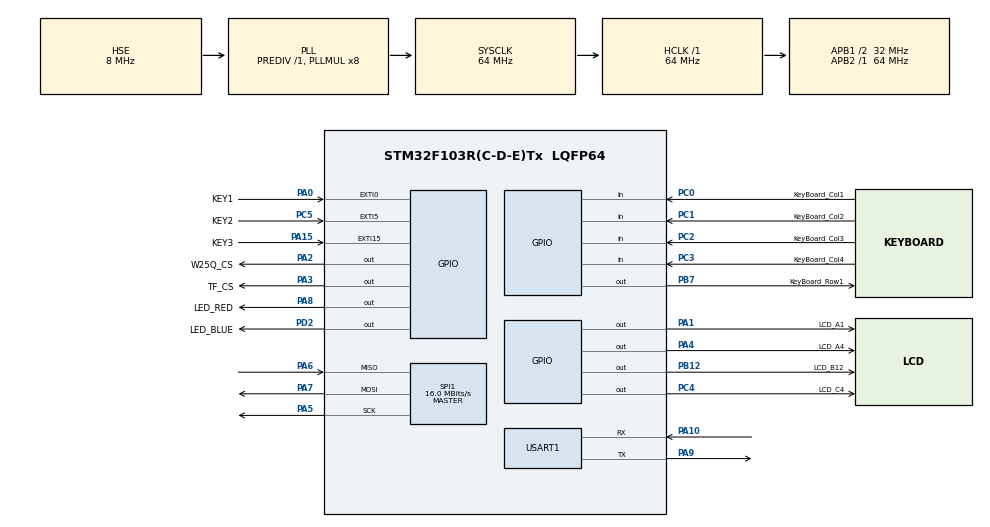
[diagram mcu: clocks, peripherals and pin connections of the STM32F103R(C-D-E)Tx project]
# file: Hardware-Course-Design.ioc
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FATFS._CODE_PAGE=936
FATFS._USE_LFN=3
Mcu.Family=STM32F1
Mcu.Name=STM32F103R(C-D-E)Tx
Mcu.Package=LQFP64
NVIC.EXTI0_IRQn=true\:2\:0\:true\:false\:true\:true\:true\:true
NVIC.EXTI15_10_IRQn=true\:2\:0\:true\:false\:true\:true\:true\:true
NVIC.EXTI9_5_IRQn=true\:2\:0\:true\:false\:true\:true\:true\:true
NVIC.PriorityGroup=NVIC_PRIORITYGROUP_4
NVIC.TIM7_IRQn=true\:3\:0\:true\:false\:true\:true\:true\:true
NVIC.USART1_IRQn=true\:1\:0\:true\:false\:true\:true\:true\:true
PA0-WKUP.GPIO_Label=KEY1
PA0-WKUP.GPIO_ModeDefaultEXTI=GPIO_MODE_IT_RISING
PA0-WKUP.GPIO_PuPd=GPIO_PULLDOWN
PA0-WKUP.Signal=GPXTI0
PA1.GPIO_Label=LCD_A1
PA1.GPIO_PuPd=GPIO_PULLUP
PA1.PinState=GPIO_PIN_SET
PA1.Signal=GPIO_Output
PA10.Mode=Asynchronous
PA10.Signal=USART1_RX
PA13.Mode=Serial_Wire
PA13.Signal=SYS_JTMS-SWDIO
PA14.Mode=Serial_Wire
PA14.Signal=SYS_JTCK-SWCLK
PA15.GPIO_Label=KEY3
PA15.GPIO_ModeDefaultEXTI=GPIO_MODE_IT_FALLING
PA15.GPIO_PuPd=GPIO_PULLUP
PA15.Signal=GPXTI15
PA2.GPIO_Label=W25Q_CS
PA2.GPIO_PuPd=GPIO_PULLUP
PA2.GPIO_Speed=GPIO_SPEED_FREQ_HIGH
PA2.PinState=GPIO_PIN_SET
PA2.Signal=GPIO_Output
PA3.GPIO_Label=TF_CS
PA3.PinState=GPIO_PIN_SET
PA3.Signal=GPIO_Output
PA4.GPIO_Label=LCD_A4
PA4.GPIO_PuPd=GPIO_PULLUP
PA4.GPIO_Speed=GPIO_SPEED_FREQ_HIGH
PA4.PinState=GPIO_PIN_SET
PA4.Signal=GPIO_Output
PA5.Mode=Full_Duplex_Master
PA5.Signal=SPI1_SCK
PA6.Mode=Full_Duplex_Master
PA6.Signal=SPI1_MISO
PA7.Mode=Full_Duplex_Master
PA7.Signal=SPI1_MOSI
PA8.GPIO_Label=LED_RED
PA8.GPIO_PuPd=GPIO_PULLUP
PA8.PinState=GPIO_PIN_SET
PA8.Signal=GPIO_Output
PA9.Mode=Asynchronous
PA9.Signal=USART1_TX
PB12.GPIO_Label=LCD_B12
PB12.GPIO_PuPd=GPIO_PULLUP
PB12.GPIO_Speed=GPIO_SPEED_FREQ_HIGH
PB12.Signal=GPIO_Output
PB7.GPIO_Label=KeyBoard_Row1
PB7.Signal=GPIO_Output
PC0.GPIO_Label=KeyBoard_Col1
PC0.GPIO_PuPd=GPIO_PULLUP
PC0.Signal=GPIO_Input
PC1.GPIO_Label=KeyBoard_Col2
PC1.GPIO_PuPd=GPIO_PULLUP
PC1.Signal=GPIO_Input
PC2.GPIO_Label=KeyBoard_Col3
PC2.GPIO_PuPd=GPIO_PULLUP
PC2.Signal=GPIO_Input
PC3.GPIO_Label=KeyBoard_Col4
PC3.GPIO_PuPd=GPIO_PULLUP
PC3.Signal=GPIO_Input
PC4.GPIO_Label=LCD_C4
PC4.GPIO_PuPd=GPIO_PULLUP
PC4.PinState=GPIO_PIN_SET
PC4.Signal=GPIO_Output
PC5.GPIO_Label=KEY2
PC5.GPIO_ModeDefaultEXTI=GPIO_MODE_IT_FALLING
PC5.GPIO_PuPd=GPIO_PULLUP
PC5.Signal=GPXTI5
PD0-OSC_IN.Mode=HSE-External-Oscillator
PD0-OSC_IN.Signal=RCC_OSC_IN
PD1-OSC_OUT.Mode=HSE-External-Oscillator
PD1-OSC_OUT.Signal=RCC_OSC_OUT
PD2.GPIO_Label=LED_BLUE
PD2.GPIO_PuPd=GPIO_PULLUP
PD2.PinState=GPIO_PIN_SET
PD2.Signal=GPIO_Output
ProjectManager.HeapSize=0x800
ProjectManager.StackSize=0x1000
ProjectManager.TargetToolchain=MDK-ARM V5.27
RCC.AHBFreq_Value=64000000
RCC.APB1CLKDivider=RCC_HCLK_DIV2
RCC.APB1Freq_Value=32000000
RCC.APB1TimFreq_Value=64000000
RCC.APB2Freq_Value=64000000
RCC.APB2TimFreq_Value=64000000
RCC.HCLKFreq_Value=64000000
RCC.PLLMUL=RCC_PLL_MUL8
RCC.PLLSourceVirtual=RCC_PLLSOURCE_HSE
RCC.SYSCLKFreq_VALUE=64000000
RCC.SYSCLKSource=RCC_SYSCLKSOURCE_PLLCLK
RCC.USBFreq_Value=64000000
SPI1.BaudRatePrescaler=SPI_BAUDRATEPRESCALER_4
SPI1.CalculateBaudRate=16.0 MBits/s
SPI1.Direction=SPI_DIRECTION_2LINES
SPI1.Mode=SPI_MODE_MASTER
SPI1.VirtualType=VM_MASTER
TIM7.Period=1000-1
TIM7.Prescaler=6400-1
USART1.VirtualMode=VM_ASYNC
VP_FATFS_VS_Generic.Mode=User_defined
VP_TIM7_VS_ClockSourceINT.Mode=Enable_Timer
board=custom

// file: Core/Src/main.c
/* USER CODE BEGIN Header */
/**
 ******************************************************************************
 * @file           : main.c
 * @brief          : Main program body
 ******************************************************************************
 * @attention
 *
 * Copyright (c) 2023 STMicroelectronics.
 * All rights reserved.
 *
 * This software is licensed under terms that can be found in the LICENSE file
 * in the root directory of this software component.
 * If no LICENSE file comes with this software, it is provided AS-IS.
 *
 ******************************************************************************
 */
/* USER CODE END Header */
#include "main.h"
#include "fatfs.h"
#include "spi.h"
#include "tim.h"
#include "usart.h"
#include "gpio.h"

/* USER CODE BEGIN Includes */
#include <stdio.h>
#include "lcd_st7735.h"
#include "w25qxx.h"
#include "spi_sdcard.h"
#include "display.h"
#include "keyboard.h"
#include "malloc.h"
#include "VS1053.h"
#include "piclib.h"
#include "control.h"
/* USER CODE END Includes */

/* USER CODE BEGIN PV */

// 用于SD读取的全局变量
char NameList[NAMELIST_NUM][NAMELIST_MAX_LEN] = {"\0"}; // 文件列表缓冲区
FATFS Fs;
FIL File;
UINT Br, Bw;

// 用于按键状态机转移
SYSINFO SysInfo = SYS_OK;         // 系统状态
MENUINFO MenuInfo = LOADING_MENU; // 当前在哪一个菜单
KEYSTATUS KeyStatus = KEY_DENY;
VS1053STATUS Vs1053Status = VS1053_PLAY;
uint8_t SelectIndex = 0;           // 当前选中的index
bool SubMenuOk = true;             // 子菜单是否ok
uint8_t FileNum = 0;               // 扫描出来的文件个数，防止select指示过度
char Buffer[BUFFER_SIZE] = {'\0'}; // 文本读取内容缓冲区
int16_t BufferPos = 0;             // 文本读取内容缓冲区位置
bool IsEndTxt = false;             // 文本是否读取完毕

long VS1053_CURRENTPOS = 0; // 当前播放的位置
extern _vs10xx_obj vsset;   // VS1053的设置

// 用于在主函数中播放
char SongFullName[10 + NAMELIST_MAX_LEN] = {'\0'};
bool IsPlay = false;
bool IsStop = false;

/* USER CODE END PV */

void SystemClock_Config(void);

int main(void)
{

  /* MCU Configuration--------------------------------------------------------*/

  /* Reset of all peripherals, Initializes the Flash interface and the Systick. */
  HAL_Init();

  /* Configure the system clock */
  SystemClock_Config();

  /* Initialize all configured peripherals */
  MX_GPIO_Init();
  MX_SPI1_Init();
  MX_USART1_UART_Init();
  MX_FATFS_Init();
  MX_TIM7_Init();
  /* USER CODE BEGIN 2 */

  //  HAL_NVIC_SetPriority(SysTick_IRQn,0,0U);
  //  HAL_NVIC_SetPriority(TIM,1,0U);

  LCD_CS_DIS;      // 尽管从设备基本操作函数中有片选的处理
  W25QX_NSS_HIGH;  // 但仍要注意切换同一SPI从设备的片选CS
  LCD_Init(BLACK); // LCD驱动ST7735先初始化
  W25qx_Init();    // W25qx再初始化（内带字库）
                   // atk_mo1053_init();
  //  !!!!!!!!!!!!!!!!!!!!!!!!!!!!!!!

  // 初始化屏幕标题
  set_head_string("系统初始化中", BLACK, GOODBLUE);
  // 启动定时器
  __HAL_TIM_CLEAR_IT(&htim7, TIM_IT_UPDATE);
  HAL_TIM_Base_Start_IT(&htim7);
  // 初始化TF卡
  uint8_t res = sd_init();
  sd_init_handle(res);

  res = f_mount(&Fs, "0", 1);
  f_mount_handle(res);

  res = f_scandir(ROOT_FOLDER);
  f_scandir_handle(res);

  // 初始化画图
  piclib_init();

  printf("你好\n");
  if (res != FR_OK)
  {
    SysInfo = SYS_SD_ERROR;
    display_string_center("系统初始化失败", 16, RED, BLACK);
    display_string_center("按任意键退出", 16, YELLOW, BLACK);
    KeyStatus = KEY_ACCEPT;
  }
  else
  {
    display_string_center("系统初始化成功", 16, GREEN, BLACK);
    display_string_center("按任意键继续", 16, GREEN, BLACK);
    KeyStatus = KEY_ACCEPT;
  }

  /* USER CODE END 2 */

  /* Infinite loop */
  while (1)
  {

    /* USER CODE BEGIN 3 */
    if (IsPlay && !IsStop)
    {
      song_play(SongFullName, 0);
			IsPlay = false;
			if( Vs1053Status == VS1053_MOVE)
				IsPlay = true;
      Vs1053Status = VS1053_PLAY;

    }
    if (IsPlay && IsStop)
    {
      song_play(SongFullName, VS1053_CURRENTPOS);
			IsPlay = false;
			if( Vs1053Status == VS1053_MOVE)
				IsPlay = true;
      Vs1053Status = VS1053_PLAY;

    }
  }
  /* USER CODE END 3 */
}

void SystemClock_Config(void)
{
  RCC_OscInitTypeDef RCC_OscInitStruct = {0};
  RCC_ClkInitTypeDef RCC_ClkInitStruct = {0};

  /** Initializes the RCC Oscillators according to the specified parameters
   * in the RCC_OscInitTypeDef structure.
   */
  RCC_OscInitStruct.OscillatorType = RCC_OSCILLATORTYPE_HSE;
  RCC_OscInitStruct.HSEState = RCC_HSE_ON;
  RCC_OscInitStruct.HSEPredivValue = RCC_HSE_PREDIV_DIV1;
  RCC_OscInitStruct.HSIState = RCC_HSI_ON;
  RCC_OscInitStruct.PLL.PLLState = RCC_PLL_ON;
  RCC_OscInitStruct.PLL.PLLSource = RCC_PLLSOURCE_HSE;
  RCC_OscInitStruct.PLL.PLLMUL = RCC_PLL_MUL8;
  if (HAL_RCC_OscConfig(&RCC_OscInitStruct) != HAL_OK)
  {
    Error_Handler();
  }

  /** Initializes the CPU, AHB and APB buses clocks
   */
  RCC_ClkInitStruct.ClockType = RCC_CLOCKTYPE_HCLK | RCC_CLOCKTYPE_SYSCLK | RCC_CLOCKTYPE_PCLK1 | RCC_CLOCKTYPE_PCLK2;
  RCC_ClkInitStruct.SYSCLKSource = RCC_SYSCLKSOURCE_PLLCLK;
  RCC_ClkInitStruct.AHBCLKDivider = RCC_SYSCLK_DIV1;
  RCC_ClkInitStruct.APB1CLKDivider = RCC_HCLK_DIV2;
  RCC_ClkInitStruct.APB2CLKDivider = RCC_HCLK_DIV1;

  if (HAL_RCC_ClockConfig(&RCC_ClkInitStruct, FLASH_LATENCY_2) != HAL_OK)
  {
    Error_Handler();
  }
}

/* USER CODE BEGIN 4 */
int fputc(int ch, FILE *f)
{
  HAL_UART_Transmit(&huart1, (uint8_t *)&ch, 1, 0xffff);
  return ch;
}

void HAL_TIM_PeriodElapsedCallback(TIM_HandleTypeDef *htim)
{
  if (htim->Instance == TIM7)
  {
    uint8_t res = KEY_SCAN();
    if (res != 0 && MenuInfo == MUSIC_DETAIL_MENU)
    {
      if (res == 1)
      {
        music_run_stop();
      }
      if (res == 2)
      {
        addvolume();
      }
      if (res == 3)
      {
        subvolume();
      }
			if(res==4)
			{
				Vs1053Status = VS1053_MOVE;
				IsStop=1;
				IsPlay=1;
			}
      printf("res:%d", res);
    }
    else if (res != 0 && MenuInfo == TXT_DETAIL_MENU)
    {
      if (res == 2)
      {
        txt_next_page();
      }
      else if (res == 1)
      {
        txt_prev_page();
      }
    }
  }
}

void HAL_GPIO_EXTI_Callback(uint16_t GPIO_Pin)
{
  if ((GPIO_Pin == KEY1_Pin || GPIO_Pin == KEY2_Pin || GPIO_Pin == KEY3_Pin) && (KeyStatus == KEY_ACCEPT))
  {
    main_state_machine(GPIO_Pin);
  }
}

/* USER CODE END 4 */

void Error_Handler(void)
{
  __disable_irq();
  while (1)
  {
  }
}
